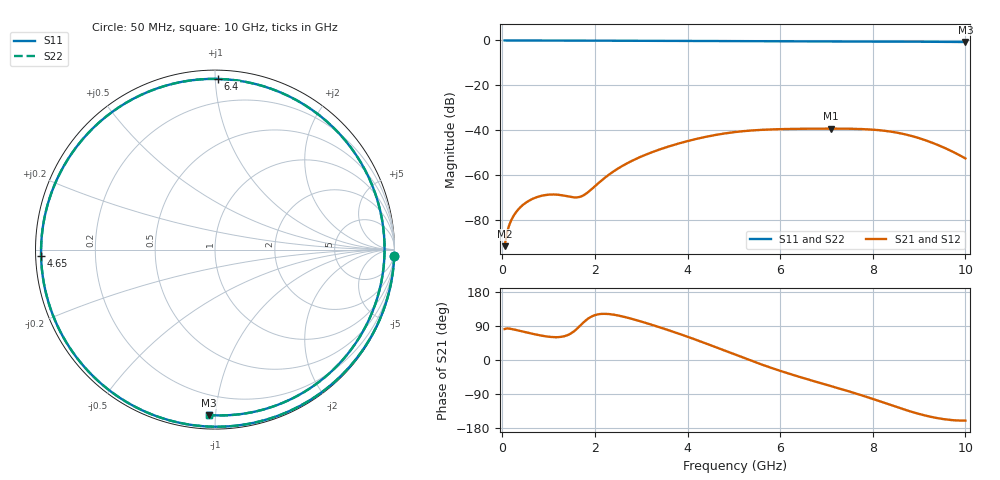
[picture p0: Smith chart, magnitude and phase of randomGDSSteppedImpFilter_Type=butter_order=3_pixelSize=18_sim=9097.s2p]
! freq	dB(S11)	phase(S11)	dB(S12)	phase(S12)
!  dB(S21)	phase(S21)	dB(S22)	phase(S22)
!S-par simulation data
#  GHz  S  DB  R 50
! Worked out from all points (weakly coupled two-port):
!   200 points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, 50 MHz to 10 GHz, reference 50 ohm
!   highest |S21| = -39.38 dB at 7.1 GHz (marker M1); lowest = -91.9 dB at 50 MHz (marker M2)
!   lowest |S11| = -0.7 dB at 10 GHz (marker M3), VSWR 24.77, Z = 3.9 - j48.1 ohm
!   |S11| at or under -10 dB: nowhere
!   |S22| runs from -0.7 to 0.0 dB; largest |S21 - S12| = 0
!   S11 on the Smith chart (normalised r, x): 50 MHz: 1, -60; 4.65 GHz: 0.02, -0.02; 6.4 GHz: 0.05, +1.02; 10 GHz: 0.08, -0.96
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0.05  -0.00 -1.9  -91.89 81.6  -91.89 81.6  -0.00 -1.9
0.2  -0.01 -7.5  -80.02 81.8  -80.02 81.8  -0.01 -7.5
0.45  -0.02 -16.8  -73.39 74.9  -73.39 74.9  -0.02 -16.8
0.8  -0.04 -29.8  -69.64 65.4  -69.64 65.4  -0.04 -29.8
1.6  -0.08 -59.3  -70.11 81.1  -70.11 81.1  -0.08 -59.3
1.75  -0.08 -64.8  -69.22 98.7  -69.22 98.7  -0.08 -64.8
2.6  -0.12 -96.0  -55.96 114.8  -55.96 114.8  -0.12 -96.0
3.4  -0.17 -126.1  -48.68 86.2  -48.68 86.2  -0.17 -126.1
4.05  -0.22 -151.9  -44.69 59.2  -44.69 59.2  -0.22 -151.9
4.65  -0.27 -177.8  -42.05 31.9  -42.05 31.9  -0.27 -177.8
5.05  -0.31 163.4  -40.86 13.1  -40.86 13.1  -0.31 163.4
5.4  -0.34 145.8  -40.18 -3.0  -40.18 -3.0  -0.34 145.8
5.8  -0.38 124.1  -39.74 -20.4  -39.74 -20.4  -0.38 124.1
6.4  -0.43 89.0  -39.47 -43.9  -39.47 -43.9  -0.43 89.0
6.7  -0.45 70.6  -39.42 -54.8  -39.42 -54.8  -0.45 70.6
7.1  -0.47 46.0  -39.38 -68.9  -39.38 -68.9  -0.47 46.0
7.4  -0.48 27.9  -39.41 -79.7  -39.41 -79.7  -0.48 27.9
7.7  -0.49 10.5  -39.54 -90.9  -39.54 -90.9  -0.49 10.5
8.35  -0.51 -24.0  -40.61 -117.2  -40.61 -117.2  -0.51 -24.0
8.75  -0.54 -42.8  -42.20 -133.4  -42.20 -133.4  -0.54 -42.8
9.15  -0.58 -60.0  -44.68 -147.0  -44.68 -147.0  -0.58 -60.0
10  -0.70 -92.0  -52.70 -159.9  -52.70 -159.9  -0.70 -92.0
